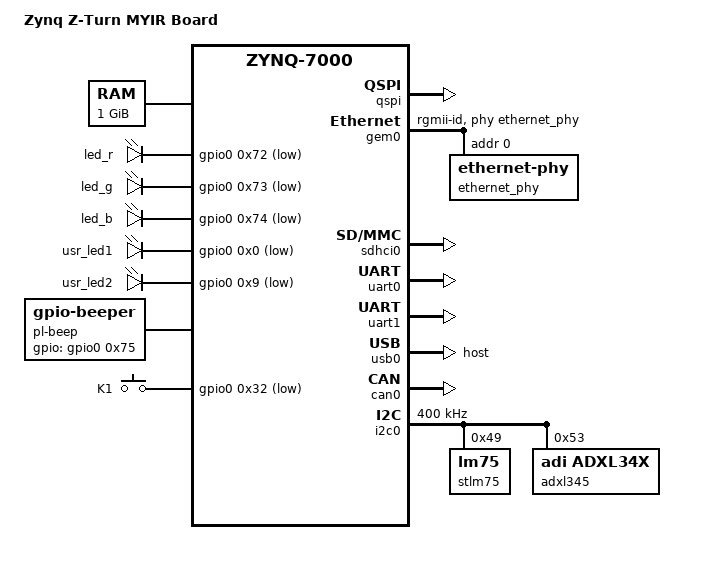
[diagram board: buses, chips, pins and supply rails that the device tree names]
/*
 *  Copyright (C) 2015 Andrea Merello <adnrea.merello@gmail.com>
 *  Copyright (C) 2017 Alexander Graf <agraf@suse.de>
 *
 *  Based on zynq-zed.dts which is:
 *  Copyright (C) 2011 - 2014 Xilinx
 *  Copyright (C) 2012 National Instruments Corp.
 *
 * This software is licensed under the terms of the GNU General Public
 * License version 2, as published by the Free Software Foundation, and
 * may be copied, distributed, and modified under those terms.
 *
 * This program is distributed in the hope that it will be useful,
 * but WITHOUT ANY WARRANTY; without even the implied warranty of
 * MERCHANTABILITY or FITNESS FOR A PARTICULAR PURPOSE.  See the
 * GNU General Public License for more details.
 */
/dts-v1/;
/include/ "zynq-7000.dtsi"

/ {
	model = "Zynq Z-Turn MYIR Board";
	compatible = "xlnx,zynq-7000";

	aliases {
		ethernet0 = &gem0;
		serial0 = &uart1;
		serial1 = &uart0;
		spi0 = &qspi;
		mmc0 = &sdhci0;
	};

	memory {
		device_type = "memory";
		reg = <0x0 0x40000000>;
	};

	chosen {
		stdout-path = "serial0:115200n8";
	};

	gpio-leds {
		compatible = "gpio-leds";
		led_r {
			label = "led_r";
			gpios = <&gpio0 0x72 0x1>;
			default-state = "on";
			linux,default-trigger = "heartbeat";
		};

		led_g {
			label = "led_g";
			gpios = <&gpio0 0x73 0x1>;
			default-state = "on";
			linux,default-trigger = "heartbeat";
		};

		led_b {
			label = "led_b";
			gpios = <&gpio0 0x74 0x1>;
			default-state = "on";
			linux,default-trigger = "heartbeat";
		};

		usr_led1 {
			label = "usr_led1";
			gpios = <&gpio0 0x0 0x1>;
			default-state = "off";
			linux,default-trigger = "none";
		};

		usr_led2 {
			label = "usr_led2";
			gpios = <&gpio0 0x9 0x1>;
			default-state = "off";
			linux,default-trigger = "none";
		};
	};

	gpio-beep {
		compatible = "gpio-beeper";
		label = "pl-beep";
		gpios = <&gpio0 0x75 0x0>;
	};

	gpio-keys {
		compatible = "gpio-keys";
		#address-cells = <0x1>;
		#size-cells = <0x0>;
		autorepeat;
		K1 {
			label = "K1";
			gpios = <&gpio0 0x32 0x1>;
			linux,code = <0x66>;
			gpio-key,wakeup;
			autorepeat;
		};
	};
};

&clkc {
	ps-clk-frequency = <33333333>;
	fclk-enable = <0xf>;
};

&qspi {
	u-boot,dm-pre-reloc;
	status = "okay";
};

&gem0 {
	status = "okay";
	phy-mode = "rgmii-id";
	phy-handle = <&ethernet_phy>;

	ethernet_phy: ethernet-phy@0 {
		reg = <0x0>;
	};
};

&sdhci0 {
	u-boot,dm-pre-reloc;
	status = "okay";
};

&uart0 {
	u-boot,dm-pre-reloc;
	status = "okay";
};

&uart1 {
	u-boot,dm-pre-reloc;
	status = "okay";
};

&usb0 {
	status = "okay";
	dr_mode = "host";
};

&can0 {
	status = "okay";
};

&i2c0 {
	status = "okay";
	clock-frequency = <400000>;

	stlm75@49 {
		status = "okay";
		compatible = "lm75";
		reg = <0x49>;
	};

	adxl345@53 {
		compatible = "adi,adxl34x", "adxl34x";
		reg = <0x53>;
		interrupt-parent = <&intc>;
		interrupts = <0x0 0x1e 0x4>;
	};
};
